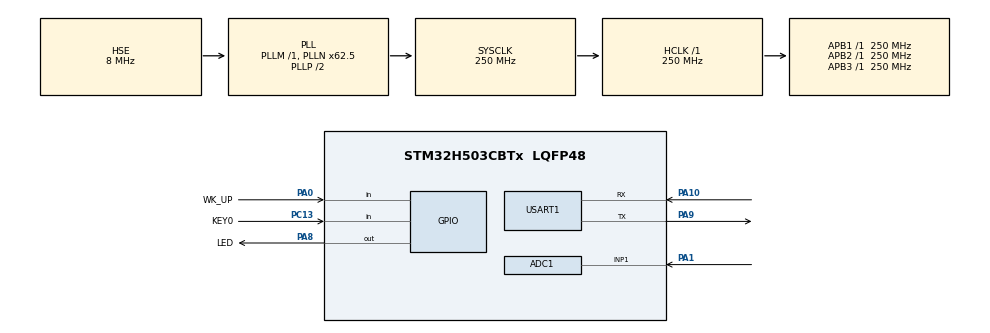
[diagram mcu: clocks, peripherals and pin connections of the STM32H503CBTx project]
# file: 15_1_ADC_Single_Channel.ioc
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ADC1.Channel-0\#ChannelRegularConversion=ADC_CHANNEL_1
ADC1.ClockPrescaler=ADC_CLOCK_ASYNC_DIV8
ADC1.MonitoredBy-0\#ChannelRegularConversion=__NULL
ADC1.NbrOfConversionFlag=1
ADC1.OffsetNumber-0\#ChannelRegularConversion=ADC_OFFSET_NONE
ADC1.Rank-0\#ChannelRegularConversion=1
ADC1.SamplingTime-0\#ChannelRegularConversion=ADC_SAMPLETIME_2CYCLES_5
ADC1.master=1
BOOTPATH.BootPathName=LEGACY
BOOTPATH.UserSelectedBootPath=LEGACY
Mcu.Family=STM32H5
Mcu.Name=STM32H503CBTx
Mcu.Package=LQFP48
NVIC.PriorityGroup=NVIC_PRIORITYGROUP_2
NVIC.USART1_IRQn=true\:2\:2\:true\:false\:true\:true\:true\:true
PA0.GPIO_Label=WK_UP
PA0.GPIO_PuPd=GPIO_PULLDOWN
PA0.Signal=GPIO_Input
PA1.Signal=ADCx_INP1
PA10.GPIO_ModeDefaultPP=GPIO_MODE_AF_PP
PA10.GPIO_Speed=GPIO_SPEED_FREQ_LOW
PA10.Mode=Asynchronous
PA10.Signal=USART1_RX
PA8.GPIO_Label=LED
PA8.GPIO_ModeDefaultOutputPP=GPIO_MODE_OUTPUT_PP
PA8.GPIO_PuPd=GPIO_PULLUP
PA8.PinState=GPIO_PIN_SET
PA8.Signal=GPIO_Output
PA9.GPIO_Speed=GPIO_SPEED_FREQ_HIGH
PA9.Mode=Asynchronous
PA9.Signal=USART1_TX
PC13.GPIO_Label=KEY0
PC13.GPIO_PuPd=GPIO_PULLDOWN
PC13.Signal=GPIO_Input
PC14-OSC32_IN(OSC32_IN).Mode=LSE-External-Oscillator
PC14-OSC32_IN(OSC32_IN).Signal=RCC_OSC32_IN
PC15-OSC32_OUT(OSC32_OUT).Mode=LSE-External-Oscillator
PC15-OSC32_OUT(OSC32_OUT).Signal=RCC_OSC32_OUT
PH0-OSC_IN(PH0).Mode=HSE-External-Oscillator
PH0-OSC_IN(PH0).Signal=RCC_OSC_IN
PH1-OSC_OUT(PH1).Mode=HSE-External-Oscillator
PH1-OSC_OUT(PH1).Signal=RCC_OSC_OUT
ProjectManager.HeapSize=0x200
ProjectManager.StackSize=0x400
ProjectManager.TargetToolchain=STM32CubeIDE
RCC.ADCFreq_Value=250000000
RCC.AHBFreq_Value=250000000
RCC.APB1Freq_Value=250000000
RCC.APB1TimFreq_Value=250000000
RCC.APB2Freq_Value=250000000
RCC.APB2TimFreq_Value=250000000
RCC.APB3Freq_Value=250000000
RCC.CSI_VALUE=4000000
RCC.CortexFreq_Value=250000000
RCC.EPOD_VALUE=8000000
RCC.HCLKFreq_Value=250000000
RCC.HSE_VALUE=8000000
RCC.HSI48_VALUE=48000000
RCC.HSI_VALUE=64000000
RCC.LSIRC_VALUE=32000
RCC.PLL2Q=20
RCC.PLLFRACN=4096
RCC.PLLN=62
RCC.PLLSourceVirtual=RCC_PLL1_SOURCE_HSE
RCC.PREFETCH_ENABLE=1
RCC.SYSCLKFreq_VALUE=250000000
RCC.SYSCLKSource=RCC_SYSCLKSOURCE_PLLCLK
RCC.USBFreq_Value=48000000
RCC.VCOOutputFreq_Value=500000000
SH.ADCx_INP1.0=ADC1_INP1,IN1-Single-Ended
USART1.VirtualMode=VM_ASYNC
VP_BOOTPATH_VS_BOOTPATH.Mode=BP_Activate
VP_ICACHE_VS_ICACHE.Mode=DefaultMode
VP_MEMORYMAP_VS_MEMORYMAP.Mode=CurAppReg
VP_PWR_VS_DBSignals.Mode=DisableDeadBatterySignals
VP_PWR_VS_LPOM.Mode=PowerOptimisation
VP_PWR_VS_SECSignals.Mode=Security/Privilege
board=custom

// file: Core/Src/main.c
/**
 ****************************************************************************************************
 * @file        main.c
 * @author      ALIENTEK
 * @brief       ADC_Single_Channel code
 * @license     Copyright (C) 2012-2024, ALIENTEK
 ****************************************************************************************************
 * @attention
 *
 * platform     : ALIENTEK M48-STM32H503 board
 * website      : www.alientek.com
 * forum        : www.openedv.com/forum.php
 *
 * change logs  ：
 * version      data         notes
 * V1.0         20240309     the first version
 *
 ****************************************************************************************************
 */

/* USER CODE BEGIN Header */

/* USER CODE END Header */
#include "main.h"
#include "adc.h"
#include "icache.h"
#include "memorymap.h"
#include "usart.h"
#include "gpio.h"

/* USER CODE BEGIN Includes */
#include "../../BSP/LED/led.h"
#include "../../BSP/KEY/key.h"
/* USER CODE END Includes */

void SystemClock_Config(void);

/* USER CODE BEGIN 0 */
/**
 * @brief   Displays information about the experiment
 * @param   None
 * @retval  None
 */
void stm32h503cb_show_mesg(void)
{
	/* The serial port outputs the experimental information */
	printf("\n");
	printf("********************************\r\n");
	printf("STM32H503\r\n");
	printf("ADC Test\r\n");
	printf("ATOM@ALIENTEK\r\n");
	printf("********************************\r\n");
	printf("\r\n");
}
/* USER CODE END 0 */

int main(void)
{
  /* USER CODE BEGIN 1 */
  uint16_t adcdata;
  uint16_t voltage;
  /* USER CODE END 1 */

  /* MCU Configuration--------------------------------------------------------*/

  /* Reset of all peripherals, Initializes the Flash interface and the Systick. */
  HAL_Init();

  /* Configure the system clock */
  SystemClock_Config();

  /* Initialize all configured peripherals */
  MX_GPIO_Init();
  MX_ICACHE_Init();
  MX_USART1_UART_Init();
  MX_ADC1_Init();
  /* USER CODE BEGIN 2 */
  stm32h503cb_show_mesg();
  /* USER CODE END 2 */

  /* Infinite loop */
  /* USER CODE BEGIN WHILE */
  while (1)
  {
	  adcdata = adc_get_result_average(10);     /* The result of ADC channel 1 conversion and mean filtering is obtained */
	  printf("original value:%d\r\n", adcdata);

	  voltage = (adcdata * 3300) / 4095;        /* Calculate the actual voltage value (1000 times larger) */
	  printf("voltage:%d.%d\r\n", voltage / 1000, voltage % 1000);

	  LED_TOGGLE();
	  HAL_Delay(500);   /* delay 500ms */

    /* USER CODE END WHILE */

  }
}

void SystemClock_Config(void)
{
  RCC_OscInitTypeDef RCC_OscInitStruct = {0};
  RCC_ClkInitTypeDef RCC_ClkInitStruct = {0};

  /** Configure the main internal regulator output voltage
  */
  __HAL_PWR_VOLTAGESCALING_CONFIG(PWR_REGULATOR_VOLTAGE_SCALE0);

  while(!__HAL_PWR_GET_FLAG(PWR_FLAG_VOSRDY)) {}

  /** Initializes the RCC Oscillators according to the specified parameters
  * in the RCC_OscInitTypeDef structure.
  */
  RCC_OscInitStruct.OscillatorType = RCC_OSCILLATORTYPE_HSE;
  RCC_OscInitStruct.HSEState = RCC_HSE_ON;
  RCC_OscInitStruct.PLL.PLLState = RCC_PLL_ON;
  RCC_OscInitStruct.PLL.PLLSource = RCC_PLL1_SOURCE_HSE;
  RCC_OscInitStruct.PLL.PLLM = 1;
  RCC_OscInitStruct.PLL.PLLN = 62;
  RCC_OscInitStruct.PLL.PLLP = 2;
  RCC_OscInitStruct.PLL.PLLQ = 2;
  RCC_OscInitStruct.PLL.PLLR = 2;
  RCC_OscInitStruct.PLL.PLLRGE = RCC_PLL1_VCIRANGE_3;
  RCC_OscInitStruct.PLL.PLLVCOSEL = RCC_PLL1_VCORANGE_WIDE;
  RCC_OscInitStruct.PLL.PLLFRACN = 4096;
  if (HAL_RCC_OscConfig(&RCC_OscInitStruct) != HAL_OK)
  {
    Error_Handler();
  }

  /** Initializes the CPU, AHB and APB buses clocks
  */
  RCC_ClkInitStruct.ClockType = RCC_CLOCKTYPE_HCLK|RCC_CLOCKTYPE_SYSCLK
                              |RCC_CLOCKTYPE_PCLK1|RCC_CLOCKTYPE_PCLK2
                              |RCC_CLOCKTYPE_PCLK3;
  RCC_ClkInitStruct.SYSCLKSource = RCC_SYSCLKSOURCE_PLLCLK;
  RCC_ClkInitStruct.AHBCLKDivider = RCC_SYSCLK_DIV1;
  RCC_ClkInitStruct.APB1CLKDivider = RCC_HCLK_DIV1;
  RCC_ClkInitStruct.APB2CLKDivider = RCC_HCLK_DIV1;
  RCC_ClkInitStruct.APB3CLKDivider = RCC_HCLK_DIV1;

  if (HAL_RCC_ClockConfig(&RCC_ClkInitStruct, FLASH_LATENCY_5) != HAL_OK)
  {
    Error_Handler();
  }
}

void Error_Handler(void)
{
  __disable_irq();
  while (1)
  {
  }
}
